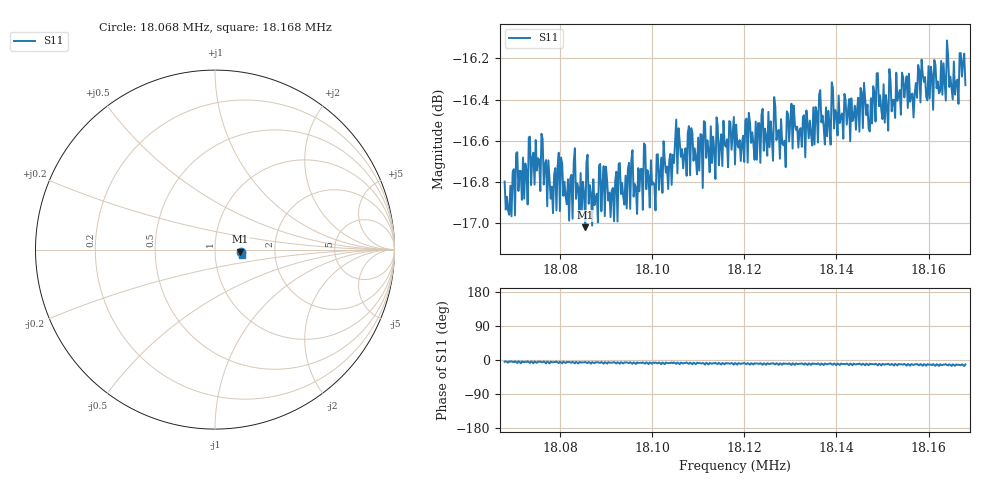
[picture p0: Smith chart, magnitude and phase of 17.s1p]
# Hz S RI R 50
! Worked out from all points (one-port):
!   401 points, 18.068 MHz to 18.168 MHz, reference 50 ohm
!   lowest |S11| = -17.0 dB at 18.0855 MHz (marker M1), VSWR 1.33, Z = 66.3 - j1.64 ohm
!   |S11| at or under -10 dB: start of sweep to end of sweep
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1.8068e7  0.1441 -0.0117
1.8069e7  0.1416 -0.00922
1.807025e7  0.1416 -0.00807
1.80725e7  0.1455 -0.012
1.807375e7  0.144 -0.00885
1.80765e7  0.144 -0.00913
1.807825e7  0.1434 -0.0145
1.80805e7  0.1442 -0.0227
1.80855e7  0.1404 -0.0121
1.80875e7  0.1411 -0.0209
1.8089e7  0.1416 -0.0129
1.809125e7  0.1429 -0.0167
1.8093e7  0.1439 -0.025
1.809525e7  0.1417 -0.0143
1.80965e7  0.1417 -0.0264
1.809875e7  0.1431 -0.0153
1.810025e7  0.1435 -0.0171
1.81055e7  0.1443 -0.0163
1.8107e7  0.1454 -0.0194
1.810825e7  0.144 -0.0173
1.810975e7  0.144 -0.0183
1.8118e7  0.1445 -0.0203
1.8127e7  0.1464 -0.0217
1.81285e7  0.1458 -0.0227
1.81305e7  0.1456 -0.0224
1.8143e7  0.1459 -0.0242
1.81555e7  0.1481 -0.0275
1.8168e7  0.1495 -0.0307
